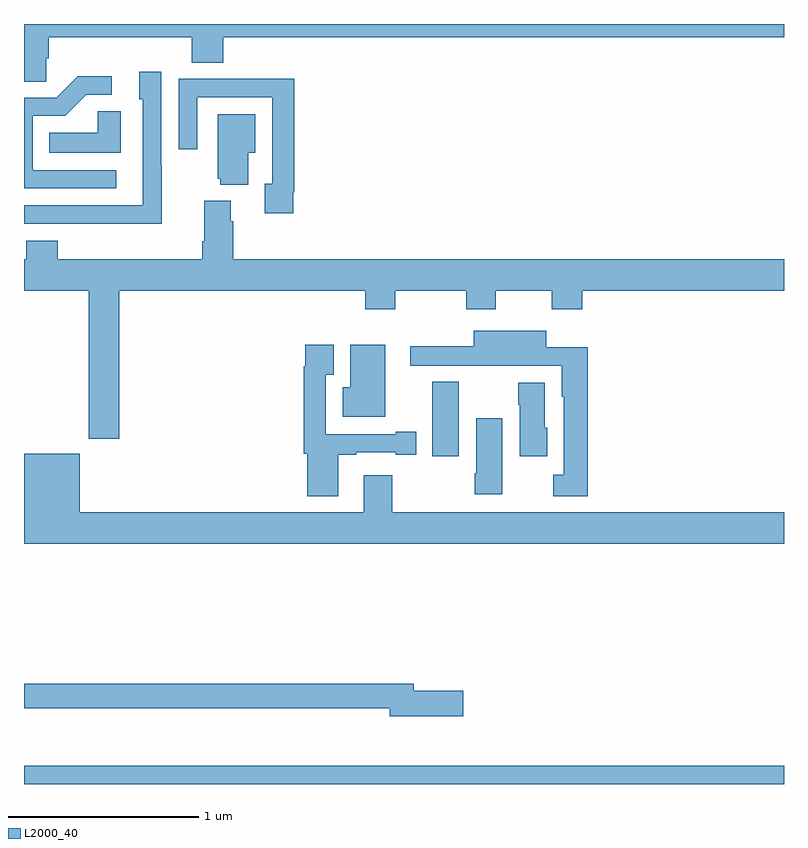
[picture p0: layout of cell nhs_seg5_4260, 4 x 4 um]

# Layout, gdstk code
import gdstk
lib = gdstk.Library(unit=1e-6, precision=1e-09)
def R(c, l, rs):  # rectangles x0, y0, x1, y1
    for r in rs: c.add(gdstk.rectangle(r[:2], r[2:], *l))
def P(c, l, *ps):  # polygons
    for p in ps: c.add(gdstk.Polygon(p, *l))
L2000_40 = (2000, 40)

nhs_seg5_4260 = lib.new_cell('nhs_seg5_4260')
R(nhs_seg5_4260, L2000_40, [(361,884.799,365,884.896), (363.149,886.524,363.289,886.916)])
P(nhs_seg5_4260, L2000_40, [(361.116,888.619),(361.13,888.619),(361.13,888.728),(361.883,888.728),(361.883,888.595),(362.048,888.595),(362.048,888.728),(365,888.728),(365,888.799),(361,888.799),(361,888.496),(361.116,888.496)],
  [(361.725,888.053),(361.722,888.053),(361.722,888.547),(361.607,888.547),(361.607,888.402),(361.626,888.402),(361.626,887.844),(361,887.844),(361,887.748),(361.261,887.748),(361.261,887.747),(361.725,887.747)],
  [(361.486,888.03),(361.047,888.03),(361.047,888.315),(361.216,888.315),(361.327,888.426),(361.462,888.426),(361.462,888.524),(361.283,888.524),(361.17,888.411),(361,888.411),(361,887.934),(361.486,887.934)],
  [(362.416,887.914),(362.423,887.914),(362.423,888.512),(362.131,888.512),(362.131,888.51),(361.815,888.51),(361.815,888.141),(361.911,888.141),(361.911,888.414),(362.307,888.414),(362.307,887.958),(362.267,887.958),(362.267,887.802),(362.416,887.802)],
  [(361.51,888.341),(361.389,888.341),(361.389,888.226),(361.132,888.226),(361.132,888.122),(361.51,888.122)],
  [(362.179,888.122),(362.218,888.122),(362.218,888.325),(362.021,888.325),(362.021,887.985),(362.033,887.985),(362.033,887.954),(362.179,887.954)],
  [(361.502,887.396),(362.795,887.396),(362.795,887.297),(362.955,887.297),(362.955,887.396),(363.328,887.396),(363.328,887.297),(363.483,887.297),(363.483,887.396),(363.778,887.396),(363.778,887.297),(363.938,887.297),(363.938,887.396),(365,887.396),(365,887.56),(362.102,887.56),(362.102,887.762),(362.089,887.762),(362.089,887.869),(361.949,887.869),(361.949,887.656),(361.937,887.656),(361.937,887.56),(361.178,887.56),(361.178,887.659),(361.013,887.659),(361.013,887.56),(361,887.56),(361,887.396),(361.342,887.396),(361.342,886.617),(361.502,886.617)],
  [(363.968,887.099),(363.748,887.099),(363.748,887.185),(363.368,887.185),(363.368,887.102),(363.033,887.102),(363.033,887.001),(363.472,887.001),(363.472,887),(363.83,887),(363.83,886.836),(363.842,886.836),(363.842,886.426),(363.786,886.426),(363.786,886.313),(363.968,886.313)],
  [(362.902,887.11),(362.717,887.11),(362.717,886.886),(362.678,886.886),(362.678,886.733),(362.902,886.733)],
  [(362.653,886.533),(362.749,886.533),(362.749,886.545),(362.957,886.545),(362.957,886.533),(363.064,886.533),(363.064,886.654),(362.957,886.654),(362.957,886.641),(362.589,886.641),(362.589,886.954),(362.629,886.954),(362.629,887.11),(362.481,887.11),(362.481,886.997),(362.473,886.997),(362.473,886.538),(362.492,886.538),(362.492,886.314),(362.653,886.314)],
  [(363.754,886.674),(363.742,886.674),(363.742,886.912),(363.601,886.912),(363.601,886.796),(363.608,886.796),(363.608,886.524),(363.754,886.524)],
  [(363.517,886.723),(363.38,886.723),(363.38,886.435),(363.373,886.435),(363.373,886.323),(363.517,886.323)],
  [(365,886.228),(362.937,886.228),(362.937,886.423),(362.789,886.423),(362.789,886.228),(361.294,886.228),(361.294,886.537),(361,886.537),(361,886.064),(365,886.064)],
  [(363.313,885.29),(363.052,885.29),(363.052,885.326),(361,885.326),(361,885.198),(362.924,885.198),(362.924,885.155),(363.313,885.155)])

lib.write_gds('nhs_seg5_4260.gds')
